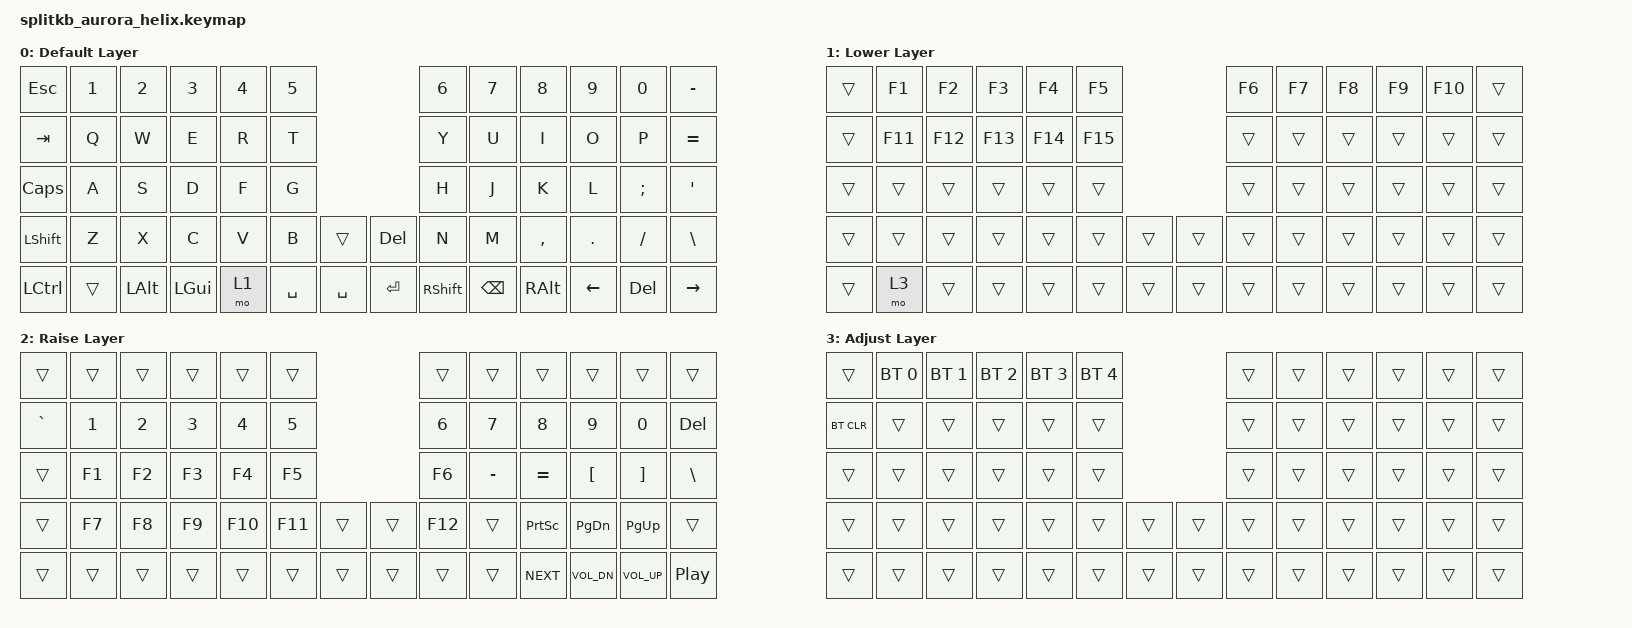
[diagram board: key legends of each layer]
/*
 * Copyright (c) 2023 The ZMK Contributor
 *
 * SPDX-License-Identifier: MIT
 */

#include <behaviors.dtsi>
#include <dt-bindings/zmk/bt.h>
#include <dt-bindings/zmk/keys.h>

#define DEFAULT 0
#define LOWER  1
#define RAISE  2
#define ADJUST 3

/* Uncomment this block if using RGB
&led_strip {
       chain-length = <6>;
       // chain-length = <38>; // Uncomment if using both per-key and underglow LEDs
       // chain-length = <32>; // Uncomment if using only per-key LEDs.
};
 */
/* NOTE: At the time of the creation of this keymap, there are no specified codes for 'eisuu' and 'kana' input in ZMK.
However, 'LANG1' and 'LANG2' are fully-functioning candidates for 'kana' and 'eisuu' input respectively.
As such, those are in use within the default layer at this time.*/

/ {
    macros {
        new_macro: new_macro {
            compatible = "zmk,behavior-macro";
            #binding-cells = <0>;
            bindings = <&none>;
            label = "NEW_MACRO";
        };
    };

    keymap {
        compatible = "zmk,keymap";

        default_layer {
            display-name = "Default Layer";

            // ---------------------------------------------------------------------------------------------------------------------------------
            // | GRAVE  |   1    |   2    |   3    |   4    |   5    |                                      |   6    |   7    |   8    |   9    |   0    |  DEL   |
            // |  TAB   |   Q    |   W    |   E    |   R    |   T    |                                      |   Y    |   U    |   I    |   O    |   P    |  BSPC  |
            // |  CTRL  |   A    |   S    |   D    |   F    |   G    |                                      |   H    |   J    |   K    |   L    |   ;    |   '    |
            // |  SHIFT |   Z    |   X    |   C    |   V    |   B    |  LBKT  |                    |  RBKT  |   N    |   M    |   ,    |   .    |   /    |  RET   |
            // | ADJUST |  ESC   |  ALT   |  LGUI  | EISUU  | LOWER  | SPACE  |                    |  SPACE | RAISE  |  KANA  |  LEFT  |  DOWN  |  UP    |  RIGHT |

            bindings = <
&kp ESCAPE        &kp N1  &kp N2    &kp N3    &kp N4  &kp N5                              &kp N6           &kp N7         &kp N8         &kp N9      &kp N0     &kp MINUS
&kp TAB           &kp Q   &kp W     &kp E     &kp R   &kp T                               &kp Y            &kp U          &kp I          &kp O       &kp P      &kp EQUAL
&kp CAPS          &kp A   &kp S     &kp D     &kp F   &kp G                               &kp H            &kp J          &kp K          &kp L       &kp SEMI   &kp SQT
&kp LSHFT         &kp Z   &kp X     &kp C     &kp V   &kp B      &trans       &kp DEL     &kp N            &kp M          &kp COMMA      &kp PERIOD  &kp SLASH  &kp BACKSLASH
&kp LEFT_CONTROL  &trans  &kp LALT  &kp LGUI  &mo 1   &kp SPACE  &kp SPACE    &kp RETURN  &kp RIGHT_SHIFT  &kp BACKSPACE  &kp RIGHT_ALT  &kp LEFT    &kp DEL    &kp RIGHT
            >;
        };

        lower_layer {
            display-name = "Lower Layer";

            // ---------------------------------------------------------------------------------------------------------------------------------
            // |      |      |      |      |      |      |                                  |      |      |      |      |      |      |
            // |  ~   |  !   |  @   |  #   |  $   |  %   |                                  |  ^   |  &   |  *   |  (   |  )   |      |
            // |      |      |      |      |      |      |                                  |      |  _   |  +   |  {   |  }   | PIPE |
            // |      |      |      |      |      |      |  (   |                    |  )   |      |      |      | HOME | END  |      |
            // |      |      |      |      |      |      |      |                    |      |      |      |      |      |      |      |

            bindings = <
&trans  &kp F1   &kp F2   &kp F3   &kp F4   &kp F5                     &kp F6  &kp F7  &kp F8  &kp F9  &kp F10  &trans
&trans  &kp F11  &kp F12  &kp F13  &kp F14  &kp F15                    &trans  &trans  &trans  &trans  &trans   &trans
&trans  &trans   &trans   &trans   &trans   &trans                     &trans  &trans  &trans  &trans  &trans   &trans
&trans  &trans   &trans   &trans   &trans   &trans   &trans    &trans  &trans  &trans  &trans  &trans  &trans   &trans
&trans  &mo 3    &trans   &trans   &trans   &trans   &trans    &trans  &trans  &trans  &trans  &trans  &trans   &trans
            >;
        };

        raise_layer {
            display-name = "Raise Layer";

            // ---------------------------------------------------------------------------------------------------------------------------------
            // |       |       |       |       |       |       |                                    |       |       |       |       |       |       |
            // |   `   |   1   |   2   |   3   |   4   |   5   |                                    |   6   |   7   |   8   |   9   |   0   |  DEL  |
            // |       |  F1   |  F2   |  F3   |  F4   |  F5   |                                    |  F6   |   -   |   =   |   [   |   ]   |   \   |
            // |       |  F7   |  F8   |  F9   |  F10  |  F11  |       |                    |       |  F12  |       | PSCRN | PG_DN | PG_UP |       |
            // |       |       |       |       |       |       |       |                    |       |       |       | NEXT  | VOL-  | VOL+  | PLAY  |

            bindings = <
&trans     &trans  &trans  &trans  &trans   &trans                     &trans   &trans     &trans      &trans        &trans        &trans
&kp GRAVE  &kp N1  &kp N2  &kp N3  &kp N4   &kp N5                     &kp N6   &kp N7     &kp N8      &kp N9        &kp N0        &kp DEL
&trans     &kp F1  &kp F2  &kp F3  &kp F4   &kp F5                     &kp F6   &kp MINUS  &kp EQUAL   &kp LBKT      &kp RBKT      &kp BSLH
&trans     &kp F7  &kp F8  &kp F9  &kp F10  &kp F11  &trans    &trans  &kp F12  &trans     &kp PSCRN   &kp PG_DN     &kp PG_UP     &trans
&trans     &trans  &trans  &trans  &trans   &trans   &trans    &trans  &trans   &trans     &kp C_NEXT  &kp C_VOL_DN  &kp C_VOL_UP  &kp C_PP
            >;
        };

        adjust_layer {
            display-name = "Adjust Layer";

            // ---------------------------------------------------------------------------------------------------------------------------------
            // |    `     |    !     |    @     |    #     |    $     |    %     |                                          |    ^     |    &     |    *     |    (     |    )     |  EP TOG  |
            // |  BT CLR  | BT SEL0  | BT SEL1  | BT SEL2  | BGT SEL3 | BT SEL4  |                                          | RGB EFF+ | RGB HUE+ | RGB SAT+ | RGB SPD+ | RGB BRI+ | RGB TOG  |
            // |  BT NXT  | OUT TOG  | OUT USB  | OUT BLE  |          |          |                                          | RGB EFF- | RGB HUE- | RGB SAT- | RGB SPD- | RGB BRI- |          |
            // |  BT PRV  |          |          |          |          |          |    {     |                    |    }     |          |          |          |          |          |          |
            // |          |          |          |          |          |          |          |                    |          |          |          |          |          |          |          |

            bindings = <
&trans      &bt BT_SEL 0  &bt BT_SEL 1  &bt BT_SEL 2  &bt BT_SEL 3  &bt BT_SEL 4                    &trans  &trans  &trans  &trans  &trans  &trans
&bt BT_CLR  &trans        &trans        &trans        &trans        &trans                          &trans  &trans  &trans  &trans  &trans  &trans
&trans      &trans        &trans        &trans        &trans        &trans                          &trans  &trans  &trans  &trans  &trans  &trans
&trans      &trans        &trans        &trans        &trans        &trans        &trans    &trans  &trans  &trans  &trans  &trans  &trans  &trans
&trans      &trans        &trans        &trans        &trans        &trans        &trans    &trans  &trans  &trans  &trans  &trans  &trans  &trans
            >;
        };
    };
};
